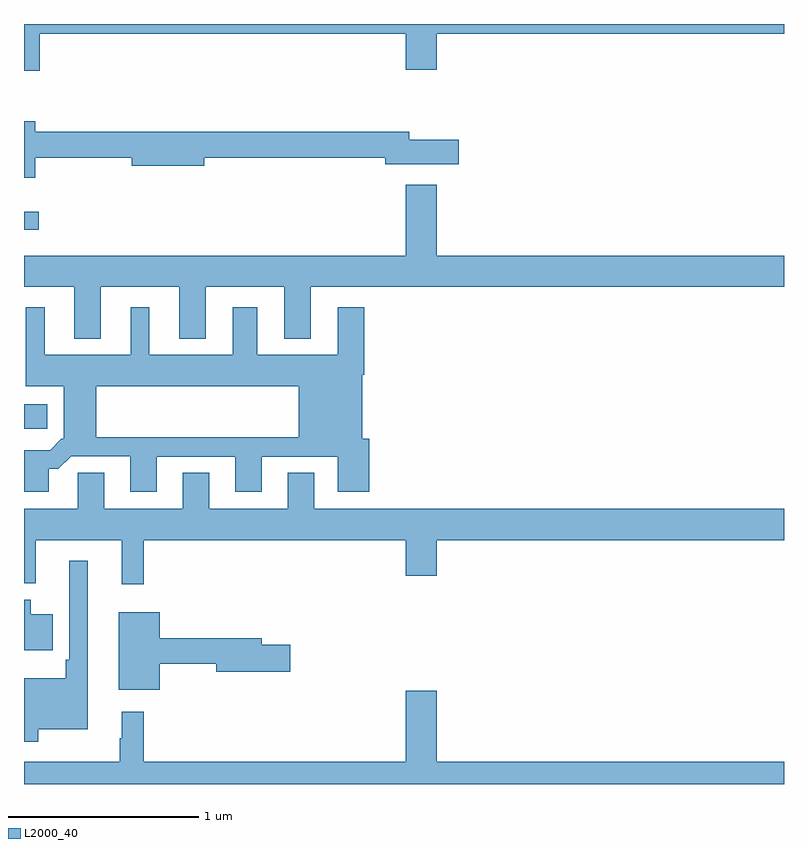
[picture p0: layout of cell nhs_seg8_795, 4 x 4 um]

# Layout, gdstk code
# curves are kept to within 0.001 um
import gdstk
lib = gdstk.Library(unit=1e-6, precision=1e-09)
def R(c, l, rs):  # rectangles x0, y0, x1, y1
    for r in rs: c.add(gdstk.rectangle(r[:2], r[2:], *l))
def P(c, l, *ps):  # polygons
    for p in ps: c.add(gdstk.Polygon(p, *l))
L2000_40 = (2000, 40)

nhs_seg8_795 = lib.new_cell('nhs_seg8_795')
R(nhs_seg8_795, L2000_40, [(163,1099.77,163.123,1099.9), (163,1100.816,163.078,1100.913)])
P(nhs_seg8_795, L2000_40, [(163.082,1101.848),(165.008,1101.848),(165.008,1101.66),(165.172,1101.66),(165.172,1101.848),(167,1101.848),(167,1101.9),(163,1101.9),(163,1101.654),(163.082,1101.654)],
  [(163.06,1101.196),(163.568,1101.196),(163.568,1101.154),(163.948,1101.154),(163.948,1101.196),(164.9,1101.196),(164.9,1101.161),(165.289,1101.161),(165.289,1101.291),(165.028,1101.291),(165.028,1101.332),(163.06,1101.332),(163.06,1101.388),(163,1101.388),(163,1101.092),(163.06,1101.092)],
  [(163.405,1100.516),(163.817,1100.516),(163.817,1100.243),(163.957,1100.243),(163.957,1100.516),(164.369,1100.516),(164.369,1100.243),(164.509,1100.243),(164.509,1100.516),(167,1100.516),(167,1100.68),(165.172,1100.68),(165.172,1101.055),(165.008,1101.055),(165.008,1100.68),(163,1100.68),(163,1100.516),(163.265,1100.516),(163.265,1100.243),(163.405,1100.243)],
  [(163.197,1099.716),(163.138,1099.657),(163,1099.657),(163,1099.437),(163.129,1099.437),(163.129,1099.559),(163.181,1099.559),(163.248,1099.626),(163.559,1099.626),(163.559,1099.437),(163.699,1099.437),(163.699,1099.623),(164.111,1099.623),(164.111,1099.437),(164.251,1099.437),(164.251,1099.623),(164.651,1099.623),(164.651,1099.437),(164.816,1099.437),(164.816,1099.716),(164.779,1099.716),(164.779,1100.054),(164.792,1100.054),(164.792,1100.41),(164.651,1100.41),(164.651,1100.158),(164.227,1100.158),(164.227,1100.41),(164.099,1100.41),(164.099,1100.158),(163.66,1100.158),(163.66,1100.41),(163.562,1100.41),(163.562,1100.158),(163.108,1100.158),(163.108,1100.41),(163.01,1100.41),(163.01,1099.994),(163.208,1099.994),(163.208,1099.724),(163.379,1099.724),(163.379,1099.994),(164.447,1099.994),(164.447,1099.724),(163.208,1099.724),(163.208,1099.716)],
  [(163.631,1099.184),(165.008,1099.184),(165.008,1098.996),(165.172,1098.996),(165.172,1099.184),(167,1099.184),(167,1099.348),(164.527,1099.348),(164.527,1099.538),(164.387,1099.538),(164.387,1099.348),(163.975,1099.348),(163.975,1099.538),(163.835,1099.538),(163.835,1099.348),(163.423,1099.348),(163.423,1099.538),(163.284,1099.538),(163.284,1099.348),(163,1099.348),(163,1098.956),(163.061,1098.956),(163.061,1099.184),(163.514,1099.184),(163.514,1098.951),(163.631,1098.951)],
  [(163.075,1098.188),(163.336,1098.188),(163.336,1099.075),(163.239,1099.075),(163.239,1098.553),(163.219,1098.553),(163.219,1098.457),(163,1098.457),(163,1098.123),(163.075,1098.123)],
  [(163.15,1098.793),(163.036,1098.793),(163.036,1098.871),(163,1098.871),(163,1098.605),(163.15,1098.605)],
  [(163.714,1098.532),(164.012,1098.532),(164.012,1098.49),(164.401,1098.49),(164.401,1098.632),(164.251,1098.632),(164.251,1098.668),(163.714,1098.668),(163.714,1098.805),(163.499,1098.805),(163.499,1098.395),(163.714,1098.395)],
  [(167,1098.016),(165.172,1098.016),(165.172,1098.391),(165.008,1098.391),(165.008,1098.016),(163.631,1098.016),(163.631,1098.28),(163.514,1098.28),(163.514,1098.14),(163.503,1098.14),(163.503,1098.016),(163,1098.016),(163,1097.9),(167,1097.9)])

lib.write_gds('nhs_seg8_795.gds')
